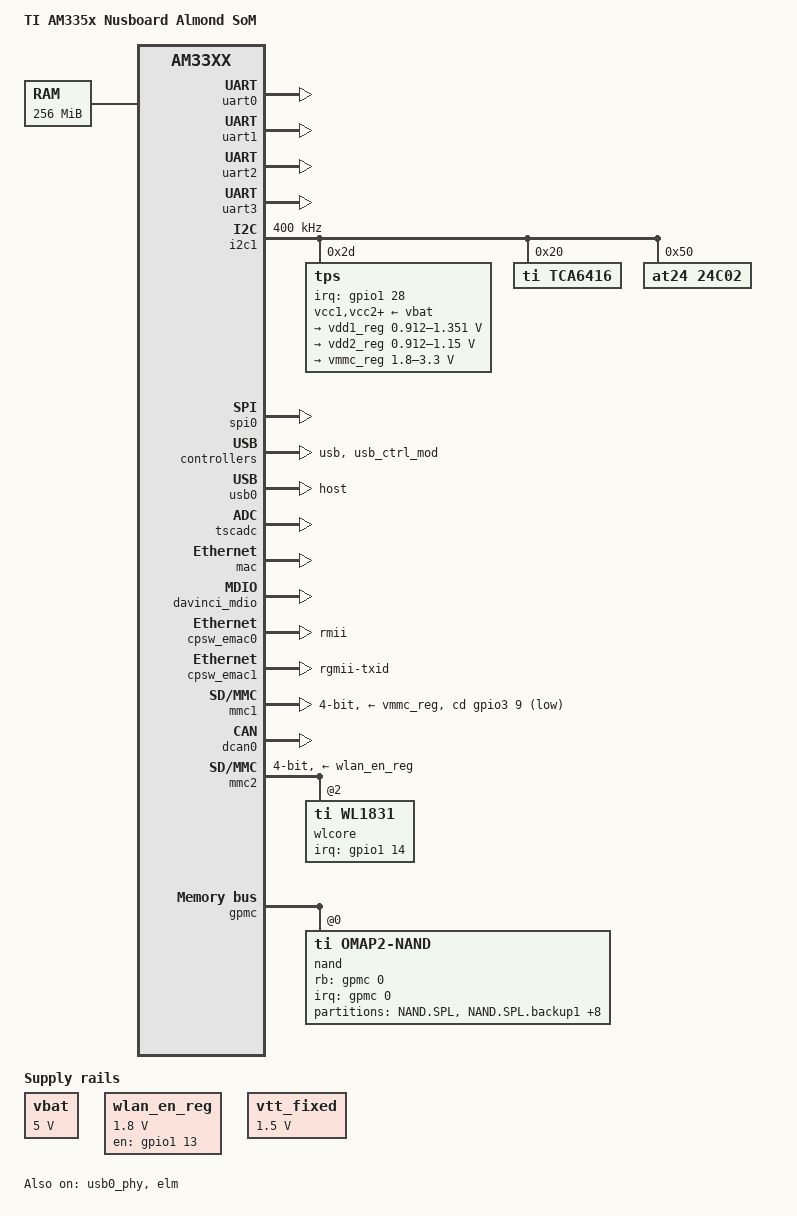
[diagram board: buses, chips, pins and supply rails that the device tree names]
/*
 * Copyright (C) 2017 NutsBoard - http://www.nutsboard.org/
 * Copyright (C) 2012 Texas Instruments Incorporated - http://www.ti.com/
 *
 * Author: Bernie Chen <s99056020@cs.nchu.edu.tw>
 *         Wig Cheng <onlywig@gmail.com>
 *
 * This program is free software; you can redistribute it and/or modify
 * it under the terms of the GNU General Public License version 2 as
 * published by the Free Software Foundation.
 */

/dts-v1/;

#include "am33xx.dtsi"
#include <dt-bindings/pwm/pwm.h>
#include <dt-bindings/interrupt-controller/irq.h>

/ {
	model = "TI AM335x Nusboard Almond SoM";
	compatible = "ti,am335x-nutsboard-almond", "ti,am33xx";

	cpus {
		cpu@0 {
			cpu0-supply = <&vdd1_reg>;
		};
	};

	memory {
		device_type = "memory";
		reg = <0x80000000 0x10000000>; /* 256 MB */
	};

	vbat: fixedregulator@0 {
		compatible = "regulator-fixed";
		regulator-name = "vbat";
		regulator-min-microvolt = <5000000>;
		regulator-max-microvolt = <5000000>;
		regulator-boot-on;
	};

	wlan_en_reg: fixedregulator@2 {
		pinctrl-names = "default";
		pinctrl-0 = <&wl18xx_gpio>;
		compatible = "regulator-fixed";
		regulator-name = "vwl1271";
		gpio = <&gpio1 13 0>;
		regulator-min-microvolt = <1800000>;
		regulator-max-microvolt = <1800000>;
		startup-delay-us = <70000>;
		enable-active-high;
	};

	vtt_fixed: fixedregulator@3 {
		compatible = "regulator-fixed";
		regulator-name = "vtt";
		regulator-min-microvolt = <1500000>;
		regulator-max-microvolt = <1500000>;
		regulator-always-on;
		regulator-boot-on;
		enable-active-high;
	};

	gpio-edm {
		compatible = "gpio-edm";

		gp_in0 {
			label = "GP_IN0";
			gpios = <&tca6416 0 0>;
			dir   = "in";
		};

		gp_in1 {
			label = "GP_IN1";
			gpios = <&tca6416 1 0>;
			dir   = "in";
		};

		gp_in2 {
			label = "GP_IN2";
			gpios = <&tca6416 2 0>;
			dir   = "in";
		};

		gp_in3 {
			label = "GP_IN3";
			gpios = <&tca6416 3 0>;
			dir   = "in";
		};

		gp_out0 {
			label = "GP_OUT0";
			gpios = <&tca6416 4 0>;
			dir   = "out";
		};

		gp_out1 {
			label = "GP_OUT1";
			gpios = <&tca6416 5 0>;
			dir   = "out";
		};

		gp_out2 {
			label = "GP_OUT2";
			gpios = <&tca6416 6 0>;
			dir   = "out";
		};

		gp_out3 {
			label = "GP_OUT3";
			gpios = <&tca6416 7 0>;
			dir   = "out";
		};

		mode_a0 {
			label = "MODEA0";
			gpios = <&tca6416 8 1>;
			dir   = "out";
		};

		mode_a1 {
			label = "MODEA1";
			gpios = <&tca6416 9 0>;
			dir   = "out";
		};

		mode_a2 {
			label = "MODEA2";
			gpios = <&tca6416 10 0>;
			dir   = "out";
		};

		mode_a3 {
			label = "MODEA3";
			gpios = <&tca6416 11 0>;
			dir   = "out";
		};

		mode_b0 {
			label = "MODEB0";
			gpios = <&tca6416 12 1>;
			dir   = "out";
		};

		mode_b1 {
			label = "MODEB1";
			gpios = <&tca6416 13 0>;
			dir   = "out";
		};

		mode_b2 {
			label = "MODEB2";
			gpios = <&tca6416 14 0>;
			dir   = "out";
		};

		mode_b3 {
			label = "MODEB3";
			gpios = <&tca6416 15 0>;
			dir   = "out";
		};

		app_led {
			label = "APP_LED";
			gpios = <&gpio3 7 1>;
			dir   = "out";
		};

		wlan_led {
			label = "WLAN_LED";
			gpios = <&gpio3 8 1>;
			dir   = "out";
		};

		pwr_led {
			label = "PWR_LED";
			gpios = <&gpio3 0 0>;
			dir   = "out";
		};

		pcie_en {
			label = "PCIE_EN";
			gpios = <&gpio0 6 1>;
			dir   = "out";
		};
	};

	kim {
		compatible = "kim";
		nshutdown_gpio = <44>;
		dev_name = "/dev/ttyO0";
		flow_cntrl = <1>;
		baud_rate = <921600>;
	};

	btwilink {
		compatible = "btwilink";
	};

};

&am33xx_pinmux {
	pinctrl-names = "default";
	pinctrl-0 = <&st7b2_led_gpio>;

		st7b2_led_gpio: st7b2_led_gpio {
		pinctrl-single,pins = <
			0x1e4 (PIN_OUTPUT_PULLDOWN | MUX_MODE7) /* emu0.gpio3_7 */
			0x1e8 (PIN_OUTPUT_PULLDOWN | MUX_MODE7) /* emu1.gpio3_8 */
			0x108 (PIN_OUTPUT_PULLDOWN | MUX_MODE7) /* mii1_col.gpio3_0 */
			0x160 (PIN_OUTPUT_PULLDOWN | MUX_MODE7) /* spi0_cs1.gpio0_6 */
		>;
	};

	tps65910_pins:  pinmux_tps65910_pins {
		pinctrl-single,pins = <
			0x078 (PIN_INPUT_PULLUP | MUX_MODE7)      /* gpmc_ben1.gpio1_28 */
		>;
	};

	i2c1_pins: pinmux_i2c1_pins {
		pinctrl-single,pins = <
			0x158 (PIN_INPUT_PULLUP | MUX_MODE2)	/* spi0_d1.i2c1_sda */
			0x15c (PIN_INPUT_PULLUP | MUX_MODE2)	/* spi0_cs0.i2c1_scl */
		>;
	};

	spi1_pins_default: spi1_pins_default {
		pinctrl-single,pins = <
			0x190 (PIN_INPUT_PULLUP | MUX_MODE2)	/* mcasp0_aclkx.spi1_sclk */
			0x194 (PIN_INPUT_PULLUP | MUX_MODE2)	/* mcasp0_fsx.spi1_d0 */
			0x198 (PIN_INPUT_PULLUP | MUX_MODE2)	/* mcasp0_axr0.spi1_d1 */
			0x1ac (PIN_INPUT_PULLUP | MUX_MODE2)	/* mcasp0_ahcklx.spi1_cs0 */
		>;
	};

	uart0_pins: pinmux_uart0_pins {
		pinctrl-single,pins = <
			0x174 (PIN_OUTPUT_PULLDOWN | MUX_MODE0) /* uart0_txd.uart0_txd */
			0x170 (PIN_INPUT_PULLUP | MUX_MODE0)  /* uart0_rxd.uart0_rxd */
			0x168 (PIN_INPUT | MUX_MODE0) /* uart0_ctsn.d_can1_tx */
			0x16c (PIN_OUTPUT_PULLDOWN | MUX_MODE0) /* uart0_rtsn.d_can1_rx */
			0x30 (PIN_OUTPUT_PULLUP | MUX_MODE7)	/* gpmc_ad12.gpio1_12 (BT_EN) */
		>;
	};

	uart3_pins: pinmux_uart3_pins {
		pinctrl-single,pins = <
			0x134 (PIN_INPUT_PULLUP | MUX_MODE1)  /* mii1_rxd3.uart3_rxd */
			0x138 (PIN_OUTPUT_PULLDOWN | MUX_MODE1)  /* mii1_rxd2.uart3_txd */
		>;
	};

	uart1_pins: pinmux_uart1_pins {
		pinctrl-single,pins = <
			0x178 (PIN_INPUT | MUX_MODE0)           /* uart1_ctsn.uart1_ctsn */
			0x17C (PIN_OUTPUT_PULLDOWN | MUX_MODE0) /* uart1_rtsn.uart1_rtsn */
			0x180 (PIN_INPUT_PULLUP | MUX_MODE0)	/* uart1_rxd.uart1_rxd */
			0x184 (PIN_OUTPUT_PULLDOWN | MUX_MODE0)		/* uart1_txd.uart1_txd */
		>;
	};

	uart2_pins: pinmux_uart2_pins {
		pinctrl-single,pins = <
			0x188 (PIN_INPUT| MUX_MODE2)  /* uart2_ctsn */
			0x18C (PIN_OUTPUT_PULLDOWN | MUX_MODE2) /* uart2_rtsn */
			0x150 (PIN_INPUT_PULLUP | MUX_MODE1)	/* spi0_sclk.uart2_rxd */
			0x154 (PIN_OUTPUT_PULLDOWN | MUX_MODE1)		/* spi0_d0.uart2_txd */
		>;
	};

	cpsw_default: cpsw_default {
		pinctrl-single,pins = <
			/* Slave 1 */
			0x10c (PIN_INPUT_PULLDOWN | MUX_MODE1)  /* mii1_crs.rmii1_crs_dv */
			0x110 (PIN_INPUT_PULLDOWN | MUX_MODE1)  /*mii1_rxerr.rmii1_rxerr */
			0x114 (PIN_OUTPUT_PULLDOWN | MUX_MODE1) /* mii1_txen.rgmii_tctl */
			0x124 (PIN_OUTPUT_PULLDOWN | MUX_MODE1) /* mii1_txd1.rgmii_td1 */
			0x128 (PIN_OUTPUT_PULLDOWN | MUX_MODE1) /* mii1_txd0.rgmii_td0 */
			0x13c (PIN_INPUT_PULLDOWN | MUX_MODE1)  /* mii1_rxd1.rgmii_rd1 */
			0x140 (PIN_INPUT_PULLDOWN | MUX_MODE1)  /* mii1_rxd0.rgmii_rd0 */
			0x144 (PIN_INPUT_PULLDOWN | MUX_MODE0)  /* rmii1_ref_clk.rmii1_refclk*/

			/* Slave 2 */
			0x40 (PIN_OUTPUT_PULLDOWN | MUX_MODE2)	/* gpmc_a0.rgmii2_tctl */
			0x44 (PIN_INPUT_PULLDOWN | MUX_MODE2)	/* gpmc_a1.rgmii2_rctl */
			0x48 (PIN_OUTPUT_PULLDOWN | MUX_MODE2)	/* gpmc_a2.rgmii2_td3 */
			0x4c (PIN_OUTPUT_PULLDOWN | MUX_MODE2)	/* gpmc_a3.rgmii2_td2 */
			0x50 (PIN_OUTPUT_PULLDOWN | MUX_MODE2)	/* gpmc_a4.rgmii2_td1 */
			0x54 (PIN_OUTPUT_PULLDOWN | MUX_MODE2)	/* gpmc_a5.rgmii2_td0 */
			0x58 (PIN_OUTPUT_PULLDOWN | MUX_MODE2)	/* gpmc_a6.rgmii2_tclk */
			0x5c (PIN_INPUT_PULLDOWN | MUX_MODE2)	/* gpmc_a7.rgmii2_rclk */
			0x60 (PIN_INPUT_PULLDOWN | MUX_MODE2)	/* gpmc_a8.rgmii2_rd3 */
			0x64 (PIN_INPUT_PULLDOWN | MUX_MODE2)	/* gpmc_a9.rgmii2_rd2 */
			0x68 (PIN_INPUT_PULLDOWN | MUX_MODE2)	/* gpmc_a10.rgmii2_rd1 */
			0x6c (PIN_INPUT_PULLDOWN | MUX_MODE2)	/* gpmc_a11.rgmii2_rd0 */
		>;
	};

	cpsw_sleep: cpsw_sleep {
		pinctrl-single,pins = <
			/* Slave 1 reset value*/
			0x10c (PIN_INPUT_PULLDOWN | MUX_MODE7)
			0x110 (PIN_INPUT_PULLDOWN | MUX_MODE7)
			0x114 (PIN_OUTPUT_PULLDOWN | MUX_MODE7)
			0x124 (PIN_OUTPUT_PULLDOWN | MUX_MODE7)
			0x128 (PIN_OUTPUT_PULLDOWN | MUX_MODE7)
			0x13c (PIN_INPUT_PULLDOWN | MUX_MODE7)
			0x140 (PIN_INPUT_PULLDOWN | MUX_MODE7)
			0x144 (PIN_INPUT_PULLDOWN | MUX_MODE7)

			/* Slave 2 reset value*/
			0x40 (PIN_INPUT_PULLDOWN | MUX_MODE7)
			0x44 (PIN_INPUT_PULLDOWN | MUX_MODE7)
			0x48 (PIN_INPUT_PULLDOWN | MUX_MODE7)
			0x4c (PIN_INPUT_PULLDOWN | MUX_MODE7)
			0x50 (PIN_INPUT_PULLDOWN | MUX_MODE7)
			0x54 (PIN_INPUT_PULLDOWN | MUX_MODE7)
			0x58 (PIN_INPUT_PULLDOWN | MUX_MODE7)
			0x5c (PIN_INPUT_PULLDOWN | MUX_MODE7)
			0x60 (PIN_INPUT_PULLDOWN | MUX_MODE7)
			0x64 (PIN_INPUT_PULLDOWN | MUX_MODE7)
			0x68 (PIN_INPUT_PULLDOWN | MUX_MODE7)
			0x6c (PIN_INPUT_PULLDOWN | MUX_MODE7)
		>;
	};

	davinci_mdio_default: davinci_mdio_default {
		pinctrl-single,pins = <
			/* MDIO */
			0x148 (PIN_INPUT_PULLUP | SLEWCTRL_FAST | MUX_MODE0)	/* mdio_data.mdio_data */
			0x14c (PIN_OUTPUT_PULLUP | MUX_MODE0)			/* mdio_clk.mdio_clk */
		>;
	};

	davinci_mdio_sleep: davinci_mdio_sleep {
		pinctrl-single,pins = <
			/* MDIO reset value */
			0x148 (PIN_INPUT_PULLDOWN | MUX_MODE7)
			0x14c (PIN_INPUT_PULLDOWN | MUX_MODE7)
		>;
	};

	mmc1_pins: pinmux_mmc1_pins {
		pinctrl-single,pins = <
			0x12c (PIN_INPUT | MUX_MODE7)  /* mii1_txclk.gpio3_9 */
		>;
	};

	mmc2_pins: pinmux_mmc2_pins {
		pinctrl-single,pins = <
			0x80 (PIN_INPUT_PULLUP | MUX_MODE2) /* gpmc_csn1.mmc1_clk */
			0x84 (PIN_INPUT_PULLUP | MUX_MODE2) /* gpmc_csn2.mmc1_cmd */
			0x20 (PIN_INPUT_PULLUP | MUX_MODE2) /* gpmc_ad8.mmc1_dat0 */
			0x24 (PIN_INPUT_PULLUP | MUX_MODE2) /* gpmc_ad9.mmc1_dat1 */
			0x28 (PIN_INPUT_PULLUP | MUX_MODE2) /* gpmc_ad10.mmc1_dat2 */
			0x2c (PIN_INPUT_PULLUP | MUX_MODE2) /* gpmc_ad11.mmc1_dat3 */
			0x38 (PIN_INPUT_PULLUP | MUX_MODE7)	/* gpmc_ad14.gpio1_14 (WLAN_IRQ) */
		>;
	};

	wl18xx_gpio: pinmux_wl18xx_gpio {
		pinctrl-single,pins = <
			0x34 (PIN_OUTPUT_PULLUP | MUX_MODE7) /* gpmc_ad13.gpio1_13 (WLAN_EN) */
		>;
	};

	dcan0_pins_default: dcan0_pins_default {
		pinctrl-single,pins = <
			0x11c (PIN_OUTPUT | MUX_MODE1) /* mii1_txd3.d_can0_tx */
			0x120 (PIN_INPUT_PULLDOWN | MUX_MODE1) /* mii1_txd2.d_can0_rx*/
		>;
	};

	nandflash_pins_s0: nandflash_pins_s0 {
		pinctrl-single,pins = <
			0x0 (PIN_INPUT_PULLUP | MUX_MODE0)	/* gpmc_ad0.gpmc_ad0 */
			0x4 (PIN_INPUT_PULLUP | MUX_MODE0)	/* gpmc_ad1.gpmc_ad1 */
			0x8 (PIN_INPUT_PULLUP | MUX_MODE0)	/* gpmc_ad2.gpmc_ad2 */
			0xc (PIN_INPUT_PULLUP | MUX_MODE0)	/* gpmc_ad3.gpmc_ad3 */
			0x10 (PIN_INPUT_PULLUP | MUX_MODE0)	/* gpmc_ad4.gpmc_ad4 */
			0x14 (PIN_INPUT_PULLUP | MUX_MODE0)	/* gpmc_ad5.gpmc_ad5 */
			0x18 (PIN_INPUT_PULLUP | MUX_MODE0)	/* gpmc_ad6.gpmc_ad6 */
			0x1c (PIN_INPUT_PULLUP | MUX_MODE0)	/* gpmc_ad7.gpmc_ad7 */
			0x70 (PIN_INPUT_PULLUP | MUX_MODE0)	/* gpmc_wait0.gpmc_wait0 */
			0x74 (PIN_INPUT_PULLUP | MUX_MODE7)	/* gpmc_wpn.gpio0_30 */
			0x7c (PIN_OUTPUT | MUX_MODE0)		 /* gpmc_csn0.gpmc_csn0  */
			0x90 (PIN_OUTPUT | MUX_MODE0)		 /* gpmc_advn_ale.gpmc_advn_ale */
			0x94 (PIN_OUTPUT | MUX_MODE0)		 /* gpmc_oen_ren.gpmc_oen_ren */
			0x98 (PIN_OUTPUT | MUX_MODE0)		 /* gpmc_wen.gpmc_wen */
			0x9c (PIN_OUTPUT | MUX_MODE0)		 /* gpmc_be0n_cle.gpmc_be0n_cle */
		>;
	};
};

&uart0 {
	pinctrl-names = "default";
	pinctrl-0 = <&uart0_pins>;
	status = "okay";
};

&uart1 {
	pinctrl-names = "default";
	pinctrl-0 = <&uart1_pins>;
	status = "okay";
};

&uart2 {
	pinctrl-names = "default";
	pinctrl-0 = <&uart2_pins>;
	status = "okay";
};

&uart3 {
	pinctrl-names = "default";
	pinctrl-0 = <&uart3_pins>;
	status = "okay";
};

&i2c1 {
	pinctrl-names = "default";
	pinctrl-0 = <&i2c1_pins>;

	status = "okay";
	clock-frequency = <400000>;

	tps: tps@2d {
		reg = <0x2d>;
		gpio-controller;
		#gpio-cells = <2>;
		interrupt-parent = <&gpio1>;
		interrupts = <28 GPIO_ACTIVE_LOW>;
		pinctrl-names = "default";
		pinctrl-0 = <&tps65910_pins>;
	};

	tca6416:gpio@20 {
		compatible = "ti,tca6416";
		gpio-controller;
		#gpio-cells = <2>;
		#interrupt-cells = <2>;
		reg = <0x20>;
	};

	at24@50 {
		compatible = "at24,24c02";
		pagesize = <8>;
		reg = <0x50>;
	};

};

&spi0 {
	status = "okay";
	pinctrl-names = "default";
	pinctrl-0 = <&spi1_pins_default>;


};


#include "tps65910.dtsi"
&tps {
	vcc1-supply = <&vbat>;
	vcc2-supply = <&vbat>;
	vcc3-supply = <&vbat>;
	vcc4-supply = <&vbat>;
	vcc5-supply = <&vbat>;
	vcc6-supply = <&vbat>;
	vcc7-supply = <&vbat>;
	vccio-supply = <&vbat>;

	ti,en-ck32k-xtal = <1>;

	regulators {
		vrtc_reg: regulator@0 {
			regulator-always-on;
		};

		vio_reg: regulator@1 {
			regulator-always-on;
		};

		vdd1_reg: regulator@2 {
			/* VDD_MPU voltage limits 0.95V - 1.26V with +/-4% tolerance */
			regulator-name = "vdd_mpu";
			regulator-min-microvolt = <912500>;
			regulator-max-microvolt = <1312500>;
			regulator-boot-on;
			regulator-always-on;
		};

		vdd2_reg: regulator@3 {
			/* VDD_CORE voltage limits 0.95V - 1.1V with +/-4% tolerance */
			regulator-name = "vdd_core";
			regulator-min-microvolt = <912500>;
			regulator-max-microvolt = <1150000>;
			regulator-boot-on;
			regulator-always-on;
		};

		vdd3_reg: regulator@4 {
			regulator-always-on;
		};

		vdig1_reg: regulator@5 {
			regulator-always-on;
		};

		vdig2_reg: regulator@6 {
			regulator-always-on;
		};

		vpll_reg: regulator@7 {
			regulator-always-on;
		};

		vdac_reg: regulator@8 {
			regulator-always-on;
		};

		vaux1_reg: regulator@9 {
			regulator-always-on;
		};

		vaux2_reg: regulator@10 {
			regulator-always-on;
		};

		vaux33_reg: regulator@11 {
			regulator-always-on;
		};

		vmmc_reg: regulator@12 {
			regulator-min-microvolt = <1800000>;
			regulator-max-microvolt = <3300000>;
			regulator-always-on;
		};
	};
};


&usb {
	status = "okay";
};

&usb_ctrl_mod {
	status = "okay";
};

&usb0_phy {
	status = "okay";
};

&usb0 {
	status = "okay";
	dr_mode = "host";
};

&tscadc {
	status = "okay";
	adc {
		ti,adc-channels = <1 2 3 4 5 6 7>;
	};
};

#include "tps65910.dtsi"

&tps {
	vcc1-supply = <&vbat>;
	vcc2-supply = <&vbat>;
	vcc3-supply = <&vbat>;
	vcc4-supply = <&vbat>;
	vcc5-supply = <&vbat>;
	vcc6-supply = <&vbat>;
	vcc7-supply = <&vbat>;
	vccio-supply = <&vbat>;

	regulators {
		vrtc_reg: regulator@0 {
			regulator-always-on;
		};

		vio_reg: regulator@1 {
			regulator-always-on;
		};

		vdd1_reg: regulator@2 {
			/* VDD_MPU voltage limits 0.95V - 1.26V with +/-4% tolerance */
			regulator-name = "vdd_mpu";
			regulator-min-microvolt = <912500>;
			regulator-max-microvolt = <1351500>;
			regulator-boot-on;
			regulator-always-on;
		};

		vdd2_reg: regulator@3 {
			/* VDD_CORE voltage limits 0.95V - 1.1V with +/-4% tolerance */
			regulator-name = "vdd_core";
			regulator-min-microvolt = <912500>;
			regulator-max-microvolt = <1150000>;
			regulator-boot-on;
			regulator-always-on;
		};

		vdd3_reg: regulator@4 {
			regulator-always-on;
		};

		vdig1_reg: regulator@5 {
			regulator-always-on;
		};

		vdig2_reg: regulator@6 {
			regulator-always-on;
		};

		vpll_reg: regulator@7 {
			regulator-always-on;
		};

		vdac_reg: regulator@8 {
			regulator-always-on;
		};

		vaux1_reg: regulator@9 {
			regulator-always-on;
		};

		vaux2_reg: regulator@10 {
			regulator-always-on;
		};

		vaux33_reg: regulator@11 {
			regulator-always-on;
		};

		vmmc_reg: regulator@12 {
			regulator-min-microvolt = <1800000>;
			regulator-max-microvolt = <3300000>;
			regulator-always-on;
		};
	};
};

&mac {
	pinctrl-names = "default", "sleep";
	pinctrl-0 = <&cpsw_default>;
	pinctrl-1 = <&cpsw_sleep>;
  active_slave = <0>; /* only MII1 connected */
	status = "okay";
};

&davinci_mdio {
	pinctrl-names = "default", "sleep";
	pinctrl-0 = <&davinci_mdio_default>;
	pinctrl-1 = <&davinci_mdio_sleep>;
	status = "okay";
};

&cpsw_emac0 {
	phy_id = <&davinci_mdio>, <5>;
	phy-mode = "rmii";
};

&cpsw_emac1 {
	phy_id = <&davinci_mdio>, <7>;
	phy-mode = "rgmii-txid";
};

&phy_sel {
	rmii-clock-ext=<1>;
};

&mmc1 {
	status = "okay";
	vmmc-supply = <&vmmc_reg>;
	bus-width = <4>;
	pinctrl-names = "default";
	pinctrl-0 = <&mmc1_pins>;
	cd-gpios = <&gpio3 9 GPIO_ACTIVE_LOW>;
};

&gpio0 {
	ti,no-reset-on-init;
};

&dcan0 {
	status = "okay";    /* Enable only if Profile 1 is selected */
	pinctrl-names = "default";
	pinctrl-0 = <&dcan0_pins_default>;
};

&mmc2 {
	status = "okay";
	vmmc-supply = <&wlan_en_reg>;
	ti,non-removable;
	bus-width = <4>;
	cap-power-off-card;
	pinctrl-names = "default";
	pinctrl-0 = <&mmc2_pins>;

	#address-cells = <1>;
	#size-cells = <0>;
	wlcore: wlcore@2 {
		compatible = "ti,wl1831";
		reg = <2>;
		interrupt-parent = <&gpio1>;
		interrupts = <14 IRQ_TYPE_LEVEL_HIGH>;
		ref-clock-frequency = <38400000>;
		tcxo-clock-frequency = <26000000>;
	};
};

&elm {
	status = "okay";
};

&gpmc {
	status = "okay";
	pinctrl-names = "default";
	pinctrl-0 = <&nandflash_pins_s0>;
	ranges = <0 0 0x08000000 0x1000000>;	 /* CS0: 16MB for NAND */
	nand@0,0 {
		compatible = "ti,omap2-nand";
		reg = <0 0 4>; /* CS0, offset 0, IO size 4 */
		interrupt-parent = <&gpmc>;
		interrupts = <0 IRQ_TYPE_NONE>, /* fifoevent */
									<1 IRQ_TYPE_NONE>; /* termcount */
		rb-gpios = <&gpmc 0 GPIO_ACTIVE_HIGH>; /* gpmc_wait0 */
		ti,nand-ecc-opt = "bch8";
		ti,elm-id = <&elm>;
		nand-bus-width = <8>;
		gpmc,device-width = <1>;
		gpmc,sync-clk-ps = <0>;
		gpmc,cs-on-ns = <0>;
		gpmc,cs-rd-off-ns = <44>;
		gpmc,cs-wr-off-ns = <44>;
		gpmc,adv-on-ns = <6>;
		gpmc,adv-rd-off-ns = <34>;
		gpmc,adv-wr-off-ns = <44>;
		gpmc,we-on-ns = <0>;
		gpmc,we-off-ns = <40>;
		gpmc,oe-on-ns = <0>;
		gpmc,oe-off-ns = <54>;
		gpmc,access-ns = <64>;
		gpmc,rd-cycle-ns = <82>;
		gpmc,wr-cycle-ns = <82>;
		gpmc,bus-turnaround-ns = <0>;
		gpmc,cycle2cycle-delay-ns = <0>;
		gpmc,clk-activation-ns = <0>;
		gpmc,wr-access-ns = <40>;
		gpmc,wr-data-mux-bus-ns = <0>;
		/* MTD partition table */
		/* All SPL-* partitions are sized to minimal length
			* which can be independently programmable. For
			* NAND flash this is equal to size of erase-block */
		#address-cells = <1>;
		#size-cells = <1>;
		partition@0 {
			label = "NAND.SPL";
			reg = <0x00000000 0x000020000>;
		};
		partition@1 {
			label = "NAND.SPL.backup1";
			reg = <0x00020000 0x00020000>;
		};
		partition@2 {
			label = "NAND.SPL.backup2";
			reg = <0x00040000 0x00020000>;
		};
		partition@3 {
			label = "NAND.SPL.backup3";
			reg = <0x00060000 0x00020000>;
		};
		partition@4 {
			label = "NAND.u-boot-spl-os";
			reg = <0x00080000 0x00040000>;
		};
		partition@5 {
			label = "NAND.u-boot";
			reg = <0x000C0000 0x00100000>;
		};
		partition@6 {
			label = "NAND.u-boot-env";
			reg = <0x001C0000 0x00020000>;
		};
		partition@7 {
			label = "NAND.u-boot-env.backup1";
			reg = <0x001E0000 0x00020000>;
		};
		partition@8 {
			label = "NAND.kernel";
			reg = <0x00200000 0x00800000>;
		};
		partition@9 {
			label = "NAND.file-system";
			reg = <0x00A00000 0x0F600000>;
		};
	};
};
